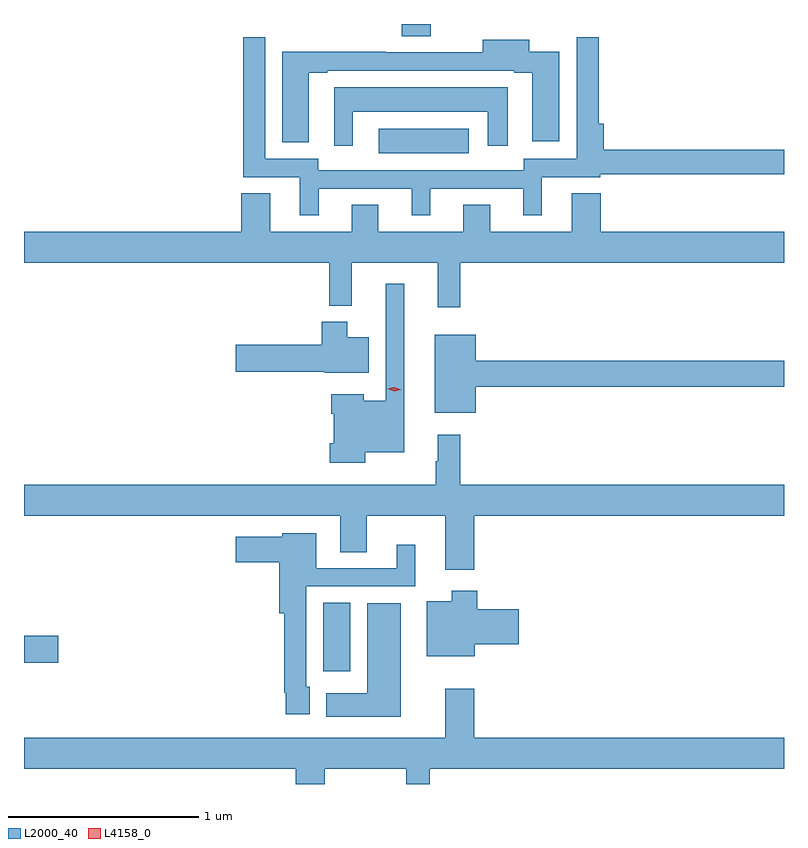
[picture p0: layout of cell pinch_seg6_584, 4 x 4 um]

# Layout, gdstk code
import gdstk
lib = gdstk.Library(unit=1e-6, precision=1e-09)
def R(c, l, rs):  # rectangles x0, y0, x1, y1
    for r in rs: c.add(gdstk.rectangle(r[:2], r[2:], *l))
def P(c, l, *ps):  # polygons
    for p in ps: c.add(gdstk.Polygon(p, *l))
L2000_40 = (2000, 40)
L4158_0 = (4158, 0)

pinch_seg6_584 = lib.new_cell('pinch_seg6_584')
R(pinch_seg6_584, L2000_40, [(398.897,958.506,399.04,958.868), (397.322,958.552,397.501,958.694), (399.189,961.232,399.664,961.363), (399.311,961.849,399.463,961.913)])
P(pinch_seg6_584, L2000_40, [(398.872,961.047),(399.362,961.047),(399.362,960.906),(399.46,960.906),(399.46,961.047),(399.95,961.047),(399.95,960.906),(400.048,960.906),(400.048,961.107),(400.356,961.107),(400.356,961.122),(401.322,961.122),(401.322,961.25),(400.373,961.25),(400.373,961.387),(400.346,961.387),(400.346,961.843),(400.23,961.843),(400.23,961.203),(399.951,961.203),(399.951,961.143),(398.871,961.143),(398.871,961.203),(398.592,961.203),(398.592,961.843),(398.476,961.843),(398.476,961.107),(398.774,961.107),(398.774,960.906),(398.872,960.906)],
  [(398.821,961.656),(398.917,961.656),(398.917,961.668),(399.902,961.668),(399.902,961.656),(399.998,961.656),(399.998,961.296),(400.138,961.296),(400.138,961.767),(399.982,961.767),(399.982,961.831),(399.737,961.831),(399.737,961.764),(399.227,961.764),(399.227,961.767),(398.681,961.767),(398.681,961.29),(398.821,961.29)],
  [(399.052,961.451),(399.764,961.451),(399.764,961.272),(399.868,961.272),(399.868,961.579),(398.954,961.579),(398.954,961.272),(399.052,961.272)],
  [(399.617,960.656),(401.322,960.656),(401.322,960.82),(400.358,960.82),(400.358,961.022),(400.205,961.022),(400.205,960.82),(399.775,960.82),(399.775,960.962),(399.635,960.962),(399.635,960.82),(399.187,960.82),(399.187,960.962),(399.047,960.962),(399.047,960.82),(398.617,960.82),(398.617,961.022),(398.465,961.022),(398.465,960.82),(397.322,960.82),(397.322,960.656),(398.929,960.656),(398.929,960.431),(399.047,960.431),(399.047,960.656),(399.5,960.656),(399.5,960.423),(399.617,960.423)],
  [(399.117,959.66),(399.322,959.66),(399.322,960.547),(399.225,960.547),(399.225,959.929),(399.109,959.929),(399.109,959.965),(398.939,959.965),(398.939,959.861),(398.951,959.861),(398.951,959.707),(398.93,959.707),(398.93,959.603),(399.117,959.603)],
  [(399.136,960.265),(399.022,960.265),(399.022,960.346),(398.888,960.346),(398.888,960.225),(398.436,960.225),(398.436,960.083),(398.904,960.083),(398.904,960.077),(399.136,960.077)],
  [(399.7,960.004),(401.322,960.004),(401.322,960.14),(399.7,960.14),(399.7,960.277),(399.485,960.277),(399.485,959.867),(399.7,959.867)],
  [(399.692,959.324),(401.322,959.324),(401.322,959.488),(399.617,959.488),(399.617,959.752),(399.5,959.752),(399.5,959.612),(399.489,959.612),(399.489,959.488),(397.322,959.488),(397.322,959.324),(398.987,959.324),(398.987,959.134),(399.127,959.134),(399.127,959.324),(399.539,959.324),(399.539,959.04),(399.692,959.04)],
  [(398.827,958.425),(398.808,958.425),(398.808,958.953),(399.382,958.953),(399.382,959.173),(399.284,959.173),(399.284,959.049),(398.86,959.049),(398.86,959.233),(398.682,959.233),(398.682,959.215),(398.436,959.215),(398.436,959.081),(398.666,959.081),(398.666,958.811),(398.692,958.811),(398.692,958.393),(398.7,958.393),(398.7,958.281),(398.827,958.281)],
  [(399.694,958.649),(399.925,958.649),(399.925,958.832),(399.707,958.832),(399.707,958.93),(399.572,958.93),(399.572,958.876),(399.443,958.876),(399.443,958.586),(399.694,958.586)],
  [(399.304,958.864),(399.128,958.864),(399.128,958.39),(398.912,958.39),(398.912,958.268),(399.304,958.268)],
  [(398.905,957.992),(399.335,957.992),(399.335,957.913),(399.457,957.913),(399.457,957.992),(401.322,957.992),(401.322,958.156),(399.692,958.156),(399.692,958.414),(399.539,958.414),(399.539,958.156),(397.322,958.156),(397.322,957.992),(398.753,957.992),(398.753,957.913),(398.905,957.913)])
P(pinch_seg6_584, L4158_0, [(399.271,959.981),(399.235,959.992),(399.235,959.992),(399.235,959.993),(399.271,960.001),(399.307,959.989),(399.307,959.989),(399.307,959.989)])

lib.write_gds('pinch_seg6_584.gds')
